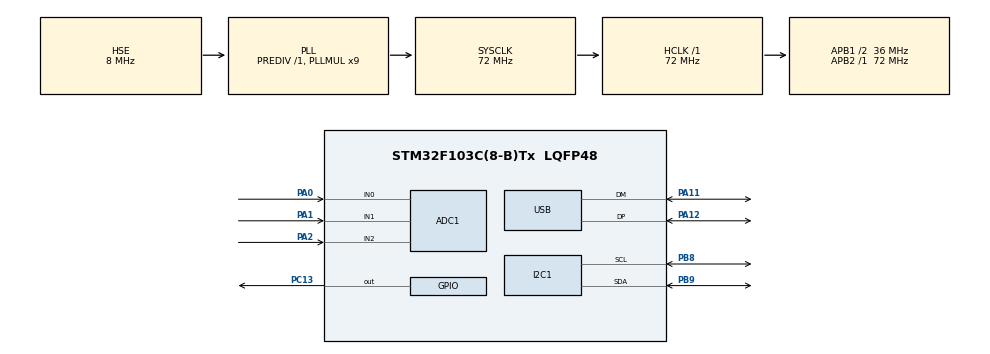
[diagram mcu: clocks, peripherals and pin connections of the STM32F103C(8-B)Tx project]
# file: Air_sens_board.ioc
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ADC1.Channel-0\#ChannelRegularConversion=ADC_CHANNEL_0
ADC1.NbrOfConversionFlag=1
ADC1.Rank-0\#ChannelRegularConversion=1
ADC1.SamplingTime-0\#ChannelRegularConversion=ADC_SAMPLETIME_1CYCLE_5
ADC1.master=1
Mcu.Family=STM32F1
Mcu.Name=STM32F103C(8-B)Tx
Mcu.Package=LQFP48
NVIC.PriorityGroup=NVIC_PRIORITYGROUP_4
NVIC.USB_LP_CAN1_RX0_IRQn=true\:0\:0\:false\:false\:true\:false\:true
PA0-WKUP.Signal=ADCx_IN0
PA1.Signal=ADCx_IN1
PA11.Mode=Device
PA11.Signal=USB_DM
PA12.Mode=Device
PA12.Signal=USB_DP
PA13.Mode=Serial_Wire
PA13.Signal=SYS_JTMS-SWDIO
PA14.Mode=Serial_Wire
PA14.Signal=SYS_JTCK-SWCLK
PA2.Signal=ADCx_IN2
PB8.Mode=I2C
PB8.Signal=I2C1_SCL
PB9.Mode=I2C
PB9.Signal=I2C1_SDA
PC13-TAMPER-RTC.Signal=GPIO_Output
PD0-OSC_IN.Mode=HSE-External-Oscillator
PD0-OSC_IN.Signal=RCC_OSC_IN
PD1-OSC_OUT.Mode=HSE-External-Oscillator
PD1-OSC_OUT.Signal=RCC_OSC_OUT
ProjectManager.HeapSize=0x200
ProjectManager.StackSize=0x400
ProjectManager.TargetToolchain=MDK-ARM V5.32
RCC.ADCPresc=RCC_ADCPCLK2_DIV6
RCC.AHBFreq_Value=72000000
RCC.APB1CLKDivider=RCC_HCLK_DIV2
RCC.APB1Freq_Value=36000000
RCC.APB1TimFreq_Value=72000000
RCC.APB2Freq_Value=72000000
RCC.APB2TimFreq_Value=72000000
RCC.HCLKFreq_Value=72000000
RCC.PLLMUL=RCC_PLL_MUL9
RCC.PLLSourceVirtual=RCC_PLLSOURCE_HSE
RCC.SYSCLKFreq_VALUE=72000000
RCC.SYSCLKSource=RCC_SYSCLKSOURCE_PLLCLK
RCC.USBFreq_Value=48000000
RCC.USBPrescaler=RCC_USBCLKSOURCE_PLL_DIV1_5
SH.ADCx_IN0.0=ADC1_IN0,IN0
SH.ADCx_IN1.0=ADC1_IN1,IN1
SH.ADCx_IN2.0=ADC1_IN2,IN2
USB_DEVICE.CLASS_NAME_FS=CDC
USB_DEVICE.VirtualMode=Cdc
USB_DEVICE.VirtualModeFS=Cdc_FS
VP_USB_DEVICE_VS_USB_DEVICE_CDC_FS.Mode=CDC_FS
board=custom

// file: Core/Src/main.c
/* USER CODE BEGIN Header */
/**
  ******************************************************************************
  * @file           : main.c
  * @brief          : Main program body
  ******************************************************************************
  * @attention
  *
  * <h2><center>&copy; Copyright (c) 2022 STMicroelectronics.
  * All rights reserved.</center></h2>
  *
  * This software component is licensed by ST under BSD 3-Clause license,
  * the "License"; You may not use this file except in compliance with the
  * License. You may obtain a copy of the License at:
  *                        opensource.org/licenses/BSD-3-Clause
  *
  ******************************************************************************
  */
/* USER CODE END Header */
#include "main.h"
#include "adc.h"
#include "i2c.h"
#include "usb_device.h"
#include "gpio.h"

/* USER CODE BEGIN Includes */                                              //The number should be the same as APP_RX_DATA_SIZE
#include "usb_device.h"
#include "nbt.h"
#include <cpp_main.h>
#include "ringbuffer.h"
#include "ledStatus.h"
#include "usbd_cdc_if.h"

//selsors libraries include
#include "hdc1080.h"
#include "CCS811.h"
/* USER CODE END Includes */

/* USER CODE BEGIN PV */
uint16_t co2;
int16_t tvoc;
__IO float temp;
__IO  uint8_t humi;
__IO  uint8_t read_data[2];
__IO  uint16_t reg=0;

uint8_t usbRxData[APP_RX_DATA_SIZE] ;
/* USER CODE END PV */

void SystemClock_Config(void);

int main(void)
{

  /* MCU Configuration--------------------------------------------------------*/

  /* Reset of all peripherals, Initializes the Flash interface and the Systick. */
  HAL_Init();

  /* Configure the system clock */
  SystemClock_Config();

  /* Initialize all configured peripherals */
  MX_GPIO_Init();
  MX_ADC1_Init();
  MX_I2C1_Init();
  MX_USB_DEVICE_Init();
  /* USER CODE BEGIN 2 */
	HAL_Delay(200);
	init_ledStatus();
	init_ROS();
  CCS811_init(&hi2c1);
	hdc1080_init(&hi2c1,Temperature_Resolution_14_bit,Humidity_Resolution_14_bit);

  /* USER CODE END 2 */

  /* Infinite loop */
  /* USER CODE BEGIN WHILE */
  while (1)
  {
		//hdc1080_start_measurement(&hi2c1,(float*)&temp,(uint8_t*)&humi);
		//CCS811_ReadAlgorithmData(&hi2c1, &co2, &tvoc);
		///HAL_GPIO_TogglePin(GPIOC, GPIO_PIN_13);
		//HAL_Delay(100);
		airSens_handler();
	  ledStatus_handler();

	  spinOnce();
    /* USER CODE END WHILE */

  }
}

void SystemClock_Config(void)
{
  RCC_OscInitTypeDef RCC_OscInitStruct = {0};
  RCC_ClkInitTypeDef RCC_ClkInitStruct = {0};
  RCC_PeriphCLKInitTypeDef PeriphClkInit = {0};

  /** Initializes the RCC Oscillators according to the specified parameters
  * in the RCC_OscInitTypeDef structure.
  */
  RCC_OscInitStruct.OscillatorType = RCC_OSCILLATORTYPE_HSE;
  RCC_OscInitStruct.HSEState = RCC_HSE_ON;
  RCC_OscInitStruct.HSEPredivValue = RCC_HSE_PREDIV_DIV1;
  RCC_OscInitStruct.HSIState = RCC_HSI_ON;
  RCC_OscInitStruct.PLL.PLLState = RCC_PLL_ON;
  RCC_OscInitStruct.PLL.PLLSource = RCC_PLLSOURCE_HSE;
  RCC_OscInitStruct.PLL.PLLMUL = RCC_PLL_MUL9;
  if (HAL_RCC_OscConfig(&RCC_OscInitStruct) != HAL_OK)
  {
    Error_Handler();
  }
  /** Initializes the CPU, AHB and APB buses clocks
  */
  RCC_ClkInitStruct.ClockType = RCC_CLOCKTYPE_HCLK|RCC_CLOCKTYPE_SYSCLK
                              |RCC_CLOCKTYPE_PCLK1|RCC_CLOCKTYPE_PCLK2;
  RCC_ClkInitStruct.SYSCLKSource = RCC_SYSCLKSOURCE_PLLCLK;
  RCC_ClkInitStruct.AHBCLKDivider = RCC_SYSCLK_DIV1;
  RCC_ClkInitStruct.APB1CLKDivider = RCC_HCLK_DIV2;
  RCC_ClkInitStruct.APB2CLKDivider = RCC_HCLK_DIV1;

  if (HAL_RCC_ClockConfig(&RCC_ClkInitStruct, FLASH_LATENCY_2) != HAL_OK)
  {
    Error_Handler();
  }
  PeriphClkInit.PeriphClockSelection = RCC_PERIPHCLK_ADC|RCC_PERIPHCLK_USB;
  PeriphClkInit.AdcClockSelection = RCC_ADCPCLK2_DIV6;
  PeriphClkInit.UsbClockSelection = RCC_USBCLKSOURCE_PLL_DIV1_5;
  if (HAL_RCCEx_PeriphCLKConfig(&PeriphClkInit) != HAL_OK)
  {
    Error_Handler();
  }
}

void Error_Handler(void)
{
  __disable_irq();
  while (1)
  {
  }
}

/************************ (C) COPYRIGHT STMicroelectronics *****END OF FILE****/
